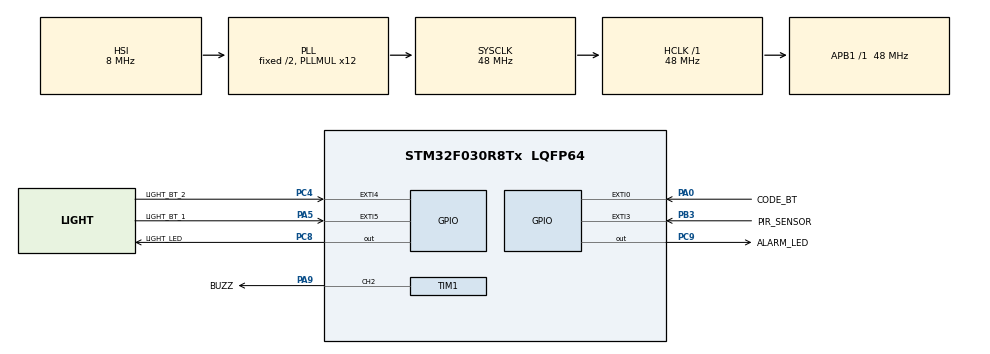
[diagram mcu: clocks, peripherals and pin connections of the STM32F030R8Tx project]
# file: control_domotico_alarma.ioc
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Mcu.Family=STM32F0
Mcu.Name=STM32F030R8Tx
Mcu.Package=LQFP64
NVIC.EXTI0_1_IRQn=true\:0\:0\:false\:false\:true\:true
NVIC.EXTI2_3_IRQn=true\:0\:0\:false\:false\:true\:true
NVIC.EXTI4_15_IRQn=true\:0\:0\:false\:false\:true\:true
NVIC.TIM14_IRQn=true\:0\:0\:false\:false\:true\:true
NVIC.TIM16_IRQn=true\:0\:0\:false\:false\:true\:true
NVIC.TIM17_IRQn=true\:0\:0\:false\:false\:true\:true
NVIC.TIM1_BRK_UP_TRG_COM_IRQn=true\:0\:0\:false\:false\:true\:true
NVIC.TIM1_CC_IRQn=true\:0\:0\:false\:false\:true\:true
NVIC.TIM3_IRQn=true\:0\:0\:false\:false\:true\:true
NVIC.TIM6_IRQn=true\:0\:0\:false\:false\:true\:true
PA0.GPIO_Label=CODE_BT
PA0.GPIO_ModeDefaultEXTI=GPIO_MODE_IT_RISING
PA0.Signal=GPXTI0
PA13.GPIO_Label=SWDIO
PA13.Signal=SYS_SWDIO
PA14.GPIO_Label=SWCLK
PA14.Signal=SYS_SWCLK
PA5.GPIO_Label=LIGHT_BT_1
PA5.GPIO_ModeDefaultEXTI=GPIO_MODE_IT_FALLING
PA5.GPIO_PuPd=GPIO_PULLUP
PA5.Signal=GPXTI5
PA9.GPIO_Label=BUZZ
PA9.Signal=S_TIM1_CH2
PB3.GPIO_Label=PIR_SENSOR
PB3.GPIO_ModeDefaultEXTI=GPIO_MODE_IT_RISING
PB3.GPIO_PuPd=GPIO_PULLDOWN
PB3.Signal=GPXTI3
PC4.GPIO_Label=LIGHT_BT_2
PC4.GPIO_PuPd=GPIO_PULLUP
PC4.Signal=GPXTI4
PC8.GPIO_Label=LIGHT_LED
PC8.Signal=GPIO_Output
PC9.GPIO_Label=ALARM_LED
PC9.Signal=GPIO_Output
ProjectManager.HeapSize=0x200
ProjectManager.StackSize=0x400
ProjectManager.TargetToolchain=SW4STM32
RCC.AHBFreq_Value=48000000
RCC.APB1Freq_Value=48000000
RCC.APB1TimFreq_Value=48000000
RCC.HCLKFreq_Value=48000000
RCC.PLLMUL=RCC_PLL_MUL12
RCC.SYSCLKFreq_VALUE=48000000
RCC.SYSCLKSource=RCC_SYSCLKSOURCE_PLLCLK
SH.S_TIM1_CH2.0=TIM1_CH2,PWM Generation2 CH2
TIM1.Channel-PWM\ Generation2\ CH2=TIM_CHANNEL_2
TIM1.Period=10
TIM1.Prescaler=4799
TIM1.Pulse-PWM\ Generation2\ CH2=5
TIM14.AutoReloadPreload=TIM_AUTORELOAD_PRELOAD_ENABLE
TIM14.Period=200
TIM14.Prescaler=47999
TIM15.Period=3000
TIM15.Prescaler=48
TIM16.Period=2999
TIM16.Prescaler=47999
TIM17.Period=9
TIM17.Prescaler=47999
TIM17.RepetitionCounter=19
TIM3.AutoReloadPreload=TIM_AUTORELOAD_PRELOAD_DISABLE
TIM3.Period=1999
TIM3.Prescaler=47999
TIM6.AutoReloadPreload=TIM_AUTORELOAD_PRELOAD_DISABLE
TIM6.Period=29
TIM6.Prescaler=47999
VP_TIM14_VS_ClockSourceINT.Mode=Enable_Timer
VP_TIM15_VS_ClockSourceINT.Mode=Internal
VP_TIM16_VS_ClockSourceINT.Mode=Enable_Timer
VP_TIM17_VS_ClockSourceINT.Mode=Enable_Timer
VP_TIM3_VS_ClockSourceINT.Mode=Internal
VP_TIM3_VS_OPM.Mode=OPM_bit
VP_TIM6_VS_ClockSourceINT.Mode=Enable_Timer
board=STM32F0308-DISCO

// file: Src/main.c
/**
  ******************************************************************************
  * @file           : main.c
  * @brief          : Main program body
  ******************************************************************************
  ** This notice applies to any and all portions of this file
  * that are not between comment pairs USER CODE BEGIN and
  * USER CODE END. Other portions of this file, whether
  * inserted by the user or by software development tools
  * are owned by their respective copyright owners.
  *
  * COPYRIGHT(c) 2018 STMicroelectronics
  *
  * Redistribution and use in source and binary forms, with or without modification,
  * are permitted provided that the following conditions are met:
  *   1. Redistributions of source code must retain the above copyright notice,
  *      this list of conditions and the following disclaimer.
  *   2. Redistributions in binary form must reproduce the above copyright notice,
  *      this list of conditions and the following disclaimer in the documentation
  *      and/or other materials provided with the distribution.
  *   3. Neither the name of STMicroelectronics nor the names of its contributors
  *      may be used to endorse or promote products derived from this software
  *      without specific prior written permission.
  *
  * THIS SOFTWARE IS PROVIDED BY THE COPYRIGHT HOLDERS AND CONTRIBUTORS "AS IS"
  * AND ANY EXPRESS OR IMPLIED WARRANTIES, INCLUDING, BUT NOT LIMITED TO, THE
  * IMPLIED WARRANTIES OF MERCHANTABILITY AND FITNESS FOR A PARTICULAR PURPOSE ARE
  * DISCLAIMED. IN NO EVENT SHALL THE COPYRIGHT HOLDER OR CONTRIBUTORS BE LIABLE
  * FOR ANY DIRECT, INDIRECT, INCIDENTAL, SPECIAL, EXEMPLARY, OR CONSEQUENTIAL
  * DAMAGES (INCLUDING, BUT NOT LIMITED TO, PROCUREMENT OF SUBSTITUTE GOODS OR
  * SERVICES; LOSS OF USE, DATA, OR PROFITS; OR BUSINESS INTERRUPTION) HOWEVER
  * CAUSED AND ON ANY THEORY OF LIABILITY, WHETHER IN CONTRACT, STRICT LIABILITY,
  * OR TORT (INCLUDING NEGLIGENCE OR OTHERWISE) ARISING IN ANY WAY OUT OF THE USE
  * OF THIS SOFTWARE, EVEN IF ADVISED OF THE POSSIBILITY OF SUCH DAMAGE.
  *
  ******************************************************************************
  */
#include "main.h"
#include "stm32f0xx_hal.h"

/* USER CODE BEGIN Includes */
#include "fsm.h"
#include "lights_fsm.h"
#include "alarm_fsm.h"
#include "code_fsm.h"

/* USER CODE END Includes */

TIM_HandleTypeDef htim1;
TIM_HandleTypeDef htim3;
TIM_HandleTypeDef htim6;
TIM_HandleTypeDef htim14;
TIM_HandleTypeDef htim15;
TIM_HandleTypeDef htim16;
TIM_HandleTypeDef htim17;

/* USER CODE BEGIN PV */
/* Private variables ---------------------------------------------------------*/
//typedef uint8_t flags;
uint8_t system_flags = 0x00;
uint32_t code_now,code_prev, code_diff;
uint32_t alarm_now,alarm_prev, alarm_diff;
uint32_t lights_now,lights_prev, lights_diff;
uint32_t now,last,period;

/* USER CODE END PV */

void SystemClock_Config(void);
static void MX_GPIO_Init(void);
static void MX_TIM1_Init(void);
static void MX_TIM6_Init(void);
static void MX_TIM14_Init(void);
static void MX_TIM16_Init(void);
static void MX_TIM17_Init(void);
static void MX_TIM3_Init(void);
static void MX_TIM15_Init(void);
void HAL_TIM_MspPostInit(TIM_HandleTypeDef *htim);

/* USER CODE BEGIN PFP */
/* Private function prototypes -----------------------------------------------*/

/* USER CODE END PFP */

int main(void)
{

  /* MCU Configuration----------------------------------------------------------*/

  /* Reset of all peripherals, Initializes the Flash interface and the Systick. */
  HAL_Init();

  /* Configure the system clock */
  SystemClock_Config();

  /* Initialize all configured peripherals */
  MX_GPIO_Init();
  MX_TIM1_Init();
  MX_TIM6_Init();
  MX_TIM14_Init();
  MX_TIM16_Init();
  MX_TIM17_Init();
  MX_TIM3_Init();
  MX_TIM15_Init();
  /* USER CODE BEGIN 2 */

  // FSM OUT FUNCS PROTO

  // TRANSITION TABLES

 fsm_t* alarm_fsm =   new_alarm_fsm();
 fsm_t* light_fsm =  new_lights_fsm();
 fsm_t*  code_fsm =    new_code_fsm();
 alarm_code[0] = 1;
 alarm_code[1] = 2;
 alarm_code[2] = 3;

for (int i = 0; i < 3; i++)
	code_in[i] = 0;

 digit_count = 0;
 bt_timer_timeout = 0;
  /* USER CODE END 2 */

  /* Infinite loop */
  /* USER CODE BEGIN WHILE */
 period = 100; // ms
 last = HAL_GetTick(); // devuelve 1 tick por 1 ms segun la config del reloj
  while (1){

	  fsm_fire(code_fsm);
	  fsm_fire(alarm_fsm);
	  fsm_fire(light_fsm);
	  now = HAL_GetTick();
	  HAL_Delay(period - ( now - last ));
	  last = HAL_GetTick();
  /* USER CODE END WHILE */

  }

}

void SystemClock_Config(void)
{

  RCC_OscInitTypeDef RCC_OscInitStruct;
  RCC_ClkInitTypeDef RCC_ClkInitStruct;

    /**Initializes the CPU, AHB and APB busses clocks
    */
  RCC_OscInitStruct.OscillatorType = RCC_OSCILLATORTYPE_HSI;
  RCC_OscInitStruct.HSIState = RCC_HSI_ON;
  RCC_OscInitStruct.HSICalibrationValue = 16;
  RCC_OscInitStruct.PLL.PLLState = RCC_PLL_ON;
  RCC_OscInitStruct.PLL.PLLSource = RCC_PLLSOURCE_HSI;
  RCC_OscInitStruct.PLL.PLLMUL = RCC_PLL_MUL12;
  RCC_OscInitStruct.PLL.PREDIV = RCC_PREDIV_DIV1;
  if (HAL_RCC_OscConfig(&RCC_OscInitStruct) != HAL_OK)
  {
    _Error_Handler(__FILE__, __LINE__);
  }

    /**Initializes the CPU, AHB and APB busses clocks
    */
  RCC_ClkInitStruct.ClockType = RCC_CLOCKTYPE_HCLK|RCC_CLOCKTYPE_SYSCLK
                              |RCC_CLOCKTYPE_PCLK1;
  RCC_ClkInitStruct.SYSCLKSource = RCC_SYSCLKSOURCE_PLLCLK;
  RCC_ClkInitStruct.AHBCLKDivider = RCC_SYSCLK_DIV1;
  RCC_ClkInitStruct.APB1CLKDivider = RCC_HCLK_DIV1;

  if (HAL_RCC_ClockConfig(&RCC_ClkInitStruct, FLASH_LATENCY_1) != HAL_OK)
  {
    _Error_Handler(__FILE__, __LINE__);
  }

    /**Configure the Systick interrupt time
    */
  HAL_SYSTICK_Config(HAL_RCC_GetHCLKFreq()/1000);

    /**Configure the Systick
    */
  HAL_SYSTICK_CLKSourceConfig(SYSTICK_CLKSOURCE_HCLK);

  /* SysTick_IRQn interrupt configuration */
  HAL_NVIC_SetPriority(SysTick_IRQn, 0, 0);
}

/* TIM1 init function */
static void MX_TIM1_Init(void)
{

  TIM_MasterConfigTypeDef sMasterConfig;
  TIM_OC_InitTypeDef sConfigOC;
  TIM_BreakDeadTimeConfigTypeDef sBreakDeadTimeConfig;

  htim1.Instance = TIM1;
  htim1.Init.Prescaler = 4799;
  htim1.Init.CounterMode = TIM_COUNTERMODE_UP;
  htim1.Init.Period = 10;
  htim1.Init.ClockDivision = TIM_CLOCKDIVISION_DIV1;
  htim1.Init.RepetitionCounter = 0;
  htim1.Init.AutoReloadPreload = TIM_AUTORELOAD_PRELOAD_DISABLE;
  if (HAL_TIM_PWM_Init(&htim1) != HAL_OK)
  {
    _Error_Handler(__FILE__, __LINE__);
  }

  sMasterConfig.MasterOutputTrigger = TIM_TRGO_RESET;
  sMasterConfig.MasterSlaveMode = TIM_MASTERSLAVEMODE_DISABLE;
  if (HAL_TIMEx_MasterConfigSynchronization(&htim1, &sMasterConfig) != HAL_OK)
  {
    _Error_Handler(__FILE__, __LINE__);
  }

  sConfigOC.OCMode = TIM_OCMODE_PWM1;
  sConfigOC.Pulse = 5;
  sConfigOC.OCPolarity = TIM_OCPOLARITY_HIGH;
  sConfigOC.OCNPolarity = TIM_OCNPOLARITY_HIGH;
  sConfigOC.OCFastMode = TIM_OCFAST_DISABLE;
  sConfigOC.OCIdleState = TIM_OCIDLESTATE_RESET;
  sConfigOC.OCNIdleState = TIM_OCNIDLESTATE_RESET;
  if (HAL_TIM_PWM_ConfigChannel(&htim1, &sConfigOC, TIM_CHANNEL_2) != HAL_OK)
  {
    _Error_Handler(__FILE__, __LINE__);
  }

  sBreakDeadTimeConfig.OffStateRunMode = TIM_OSSR_DISABLE;
  sBreakDeadTimeConfig.OffStateIDLEMode = TIM_OSSI_DISABLE;
  sBreakDeadTimeConfig.LockLevel = TIM_LOCKLEVEL_OFF;
  sBreakDeadTimeConfig.DeadTime = 0;
  sBreakDeadTimeConfig.BreakState = TIM_BREAK_DISABLE;
  sBreakDeadTimeConfig.BreakPolarity = TIM_BREAKPOLARITY_HIGH;
  sBreakDeadTimeConfig.AutomaticOutput = TIM_AUTOMATICOUTPUT_DISABLE;
  if (HAL_TIMEx_ConfigBreakDeadTime(&htim1, &sBreakDeadTimeConfig) != HAL_OK)
  {
    _Error_Handler(__FILE__, __LINE__);
  }

  HAL_TIM_MspPostInit(&htim1);

}

/* TIM3 init function */
static void MX_TIM3_Init(void)
{

  TIM_ClockConfigTypeDef sClockSourceConfig;
  TIM_MasterConfigTypeDef sMasterConfig;

  htim3.Instance = TIM3;
  htim3.Init.Prescaler = 47999;
  htim3.Init.CounterMode = TIM_COUNTERMODE_UP;
  htim3.Init.Period = 1999;
  htim3.Init.ClockDivision = TIM_CLOCKDIVISION_DIV1;
  htim3.Init.AutoReloadPreload = TIM_AUTORELOAD_PRELOAD_DISABLE;
  if (HAL_TIM_Base_Init(&htim3) != HAL_OK)
  {
    _Error_Handler(__FILE__, __LINE__);
  }

  sClockSourceConfig.ClockSource = TIM_CLOCKSOURCE_INTERNAL;
  if (HAL_TIM_ConfigClockSource(&htim3, &sClockSourceConfig) != HAL_OK)
  {
    _Error_Handler(__FILE__, __LINE__);
  }

  if (HAL_TIM_OnePulse_Init(&htim3, TIM_OPMODE_SINGLE) != HAL_OK)
  {
    _Error_Handler(__FILE__, __LINE__);
  }

  sMasterConfig.MasterOutputTrigger = TIM_TRGO_RESET;
  sMasterConfig.MasterSlaveMode = TIM_MASTERSLAVEMODE_DISABLE;
  if (HAL_TIMEx_MasterConfigSynchronization(&htim3, &sMasterConfig) != HAL_OK)
  {
    _Error_Handler(__FILE__, __LINE__);
  }

}

/* TIM6 init function */
static void MX_TIM6_Init(void)
{

  htim6.Instance = TIM6;
  htim6.Init.Prescaler = 47999;
  htim6.Init.CounterMode = TIM_COUNTERMODE_UP;
  htim6.Init.Period = 29;
  htim6.Init.AutoReloadPreload = TIM_AUTORELOAD_PRELOAD_DISABLE;
  if (HAL_TIM_Base_Init(&htim6) != HAL_OK)
  {
    _Error_Handler(__FILE__, __LINE__);
  }

}

/* TIM14 init function */
static void MX_TIM14_Init(void)
{

  htim14.Instance = TIM14;
  htim14.Init.Prescaler = 47999;
  htim14.Init.CounterMode = TIM_COUNTERMODE_UP;
  htim14.Init.Period = 200;
  htim14.Init.ClockDivision = TIM_CLOCKDIVISION_DIV1;
  htim14.Init.AutoReloadPreload = TIM_AUTORELOAD_PRELOAD_ENABLE;
  if (HAL_TIM_Base_Init(&htim14) != HAL_OK)
  {
    _Error_Handler(__FILE__, __LINE__);
  }

}

/* TIM15 init function */
static void MX_TIM15_Init(void)
{

  TIM_ClockConfigTypeDef sClockSourceConfig;
  TIM_MasterConfigTypeDef sMasterConfig;

  htim15.Instance = TIM15;
  htim15.Init.Prescaler = 48;
  htim15.Init.CounterMode = TIM_COUNTERMODE_UP;
  htim15.Init.Period = 3000;
  htim15.Init.ClockDivision = TIM_CLOCKDIVISION_DIV1;
  htim15.Init.RepetitionCounter = 0;
  htim15.Init.AutoReloadPreload = TIM_AUTORELOAD_PRELOAD_DISABLE;
  if (HAL_TIM_Base_Init(&htim15) != HAL_OK)
  {
    _Error_Handler(__FILE__, __LINE__);
  }

  sClockSourceConfig.ClockSource = TIM_CLOCKSOURCE_INTERNAL;
  if (HAL_TIM_ConfigClockSource(&htim15, &sClockSourceConfig) != HAL_OK)
  {
    _Error_Handler(__FILE__, __LINE__);
  }

  sMasterConfig.MasterOutputTrigger = TIM_TRGO_RESET;
  sMasterConfig.MasterSlaveMode = TIM_MASTERSLAVEMODE_DISABLE;
  if (HAL_TIMEx_MasterConfigSynchronization(&htim15, &sMasterConfig) != HAL_OK)
  {
    _Error_Handler(__FILE__, __LINE__);
  }

}

/* TIM16 init function */
static void MX_TIM16_Init(void)
{

  htim16.Instance = TIM16;
  htim16.Init.Prescaler = 47999;
  htim16.Init.CounterMode = TIM_COUNTERMODE_UP;
  htim16.Init.Period = 2999;
  htim16.Init.ClockDivision = TIM_CLOCKDIVISION_DIV1;
  htim16.Init.RepetitionCounter = 0;
  htim16.Init.AutoReloadPreload = TIM_AUTORELOAD_PRELOAD_DISABLE;
  if (HAL_TIM_Base_Init(&htim16) != HAL_OK)
  {
    _Error_Handler(__FILE__, __LINE__);
  }

}

/* TIM17 init function */
static void MX_TIM17_Init(void)
{

  htim17.Instance = TIM17;
  htim17.Init.Prescaler = 47999;
  htim17.Init.CounterMode = TIM_COUNTERMODE_UP;
  htim17.Init.Period = 9;
  htim17.Init.ClockDivision = TIM_CLOCKDIVISION_DIV1;
  htim17.Init.RepetitionCounter = 19;
  htim17.Init.AutoReloadPreload = TIM_AUTORELOAD_PRELOAD_DISABLE;
  if (HAL_TIM_Base_Init(&htim17) != HAL_OK)
  {
    _Error_Handler(__FILE__, __LINE__);
  }

}

/** Configure pins as
        * Analog
        * Input
        * Output
        * EVENT_OUT
        * EXTI
*/
static void MX_GPIO_Init(void)
{

  GPIO_InitTypeDef GPIO_InitStruct;

  /* GPIO Ports Clock Enable */
  __HAL_RCC_GPIOA_CLK_ENABLE();
  __HAL_RCC_GPIOC_CLK_ENABLE();
  __HAL_RCC_GPIOB_CLK_ENABLE();

  /*Configure GPIO pin Output Level */
  HAL_GPIO_WritePin(GPIOC, LIGHT_LED_Pin|ALARM_LED_Pin, GPIO_PIN_RESET);

  /*Configure GPIO pin : CODE_BT_Pin */
  GPIO_InitStruct.Pin = CODE_BT_Pin;
  GPIO_InitStruct.Mode = GPIO_MODE_IT_RISING;
  GPIO_InitStruct.Pull = GPIO_NOPULL;
  HAL_GPIO_Init(CODE_BT_GPIO_Port, &GPIO_InitStruct);

  /*Configure GPIO pin : LIGHT_BT_1_Pin */
  GPIO_InitStruct.Pin = LIGHT_BT_1_Pin;
  GPIO_InitStruct.Mode = GPIO_MODE_IT_FALLING;
  GPIO_InitStruct.Pull = GPIO_PULLUP;
  HAL_GPIO_Init(LIGHT_BT_1_GPIO_Port, &GPIO_InitStruct);

  /*Configure GPIO pin : LIGHT_BT_2_Pin */
  GPIO_InitStruct.Pin = LIGHT_BT_2_Pin;
  GPIO_InitStruct.Mode = GPIO_MODE_IT_RISING;
  GPIO_InitStruct.Pull = GPIO_PULLUP;
  HAL_GPIO_Init(LIGHT_BT_2_GPIO_Port, &GPIO_InitStruct);

  /*Configure GPIO pins : LIGHT_LED_Pin ALARM_LED_Pin */
  GPIO_InitStruct.Pin = LIGHT_LED_Pin|ALARM_LED_Pin;
  GPIO_InitStruct.Mode = GPIO_MODE_OUTPUT_PP;
  GPIO_InitStruct.Pull = GPIO_NOPULL;
  GPIO_InitStruct.Speed = GPIO_SPEED_FREQ_LOW;
  HAL_GPIO_Init(GPIOC, &GPIO_InitStruct);

  /*Configure GPIO pin : PIR_SENSOR_Pin */
  GPIO_InitStruct.Pin = PIR_SENSOR_Pin;
  GPIO_InitStruct.Mode = GPIO_MODE_IT_RISING;
  GPIO_InitStruct.Pull = GPIO_PULLDOWN;
  HAL_GPIO_Init(PIR_SENSOR_GPIO_Port, &GPIO_InitStruct);

  /* EXTI interrupt init*/
  HAL_NVIC_SetPriority(EXTI0_1_IRQn, 0, 0);
  HAL_NVIC_EnableIRQ(EXTI0_1_IRQn);

  HAL_NVIC_SetPriority(EXTI2_3_IRQn, 0, 0);
  HAL_NVIC_EnableIRQ(EXTI2_3_IRQn);

  HAL_NVIC_SetPriority(EXTI4_15_IRQn, 0, 0);
  HAL_NVIC_EnableIRQ(EXTI4_15_IRQn);

}

/* USER CODE BEGIN 4 */
/// IT CALLBACKS
void HAL_TIM_PeriodElapsedCallback(TIM_HandleTypeDef *htim){

	if(htim->Instance == TIM3){
		bt_timer_timeout = 1;
	}
	if(htim->Instance == TIM16){

		system_flags |= TIMER_FLAG;
	}
	if (htim->Instance == TIM6){ // debounce control luz

		system_flags |= LIGHT_FLAG;
		HAL_TIM_Base_Stop_IT(&htim6);
	}
	if (htim->Instance == TIM17){ // debounce pulsador armado
		system_flags |= BUTTON_FLAG;
		HAL_TIM_Base_Stop_IT(&htim17);
	}
	if (htim->Instance == TIM14){

		system_flags ^= BUZZ_FLAG;
		HAL_GPIO_TogglePin(ALARM_LED_GPIO_Port,ALARM_LED_Pin);

		if ( (__CHECK_FLAG(system_flags,BUZZ_FLAG)) )
			HAL_TIM_PWM_Start(&htim1,TIM_CHANNEL_2);
		else
			HAL_TIM_PWM_Stop(&htim1,TIM_CHANNEL_2);
	}
}

void HAL_GPIO_EXTI_Callback(uint16_t GPIO_Pin){

	if (GPIO_Pin == LIGHT_BT_1_Pin || GPIO_Pin == LIGHT_BT_2_Pin) {
		HAL_TIM_Base_Start_IT(&htim6);
	}
	if (GPIO_Pin == CODE_BT_Pin) {
		HAL_TIM_Base_Start_IT(&htim17);
	}
	if (GPIO_Pin == PIR_SENSOR_Pin){

		if (__CHECK_FLAG(system_flags,ALARM_FLAG)) {
			system_flags |= PIR_FLAG;
		}

	}
}

/* USER CODE END 4 */

void _Error_Handler(char *file, int line)
{
  while(1)
  {
  }
}

/************************ (C) COPYRIGHT STMicroelectronics *****END OF FILE****/
